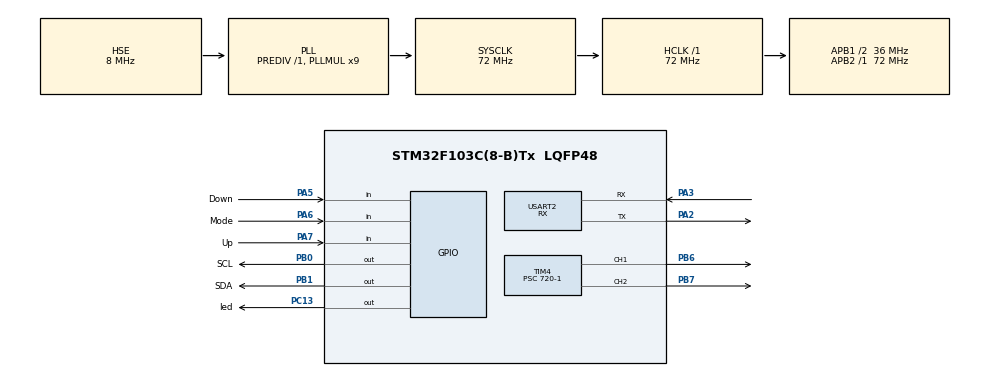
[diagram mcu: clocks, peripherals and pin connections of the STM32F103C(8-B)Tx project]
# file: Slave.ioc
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Mcu.Family=STM32F1
Mcu.Name=STM32F103C(8-B)Tx
Mcu.Package=LQFP48
NVIC.PriorityGroup=NVIC_PRIORITYGROUP_4
NVIC.TIM3_IRQn=true\:8\:0\:true\:false\:true\:true\:true\:true
NVIC.USART2_IRQn=true\:0\:0\:false\:false\:true\:true\:true\:true
PA13.Mode=Serial_Wire
PA13.Signal=SYS_JTMS-SWDIO
PA14.Mode=Serial_Wire
PA14.Signal=SYS_JTCK-SWCLK
PA2.Mode=Asynchronous
PA2.Signal=USART2_TX
PA3.Mode=Asynchronous
PA3.Signal=USART2_RX
PA5.GPIO_Label=Down
PA5.GPIO_PuPd=GPIO_PULLUP
PA5.Signal=GPIO_Input
PA6.GPIO_Label=Mode
PA6.GPIO_PuPd=GPIO_PULLUP
PA6.Signal=GPIO_Input
PA7.GPIO_Label=Up
PA7.GPIO_PuPd=GPIO_PULLUP
PA7.Signal=GPIO_Input
PB0.GPIO_Label=SCL
PB0.GPIO_Speed=GPIO_SPEED_FREQ_HIGH
PB0.Signal=GPIO_Output
PB1.GPIO_Label=SDA
PB1.GPIO_Speed=GPIO_SPEED_FREQ_HIGH
PB1.Signal=GPIO_Output
PB6.Signal=S_TIM4_CH1
PB7.Signal=S_TIM4_CH2
PC13-TAMPER-RTC.GPIO_Label=led
PC13-TAMPER-RTC.GPIO_ModeDefaultOutputPP=GPIO_MODE_OUTPUT_PP
PC13-TAMPER-RTC.Signal=GPIO_Output
PD0-OSC_IN.Mode=HSE-External-Oscillator
PD0-OSC_IN.Signal=RCC_OSC_IN
PD1-OSC_OUT.Mode=HSE-External-Oscillator
PD1-OSC_OUT.Signal=RCC_OSC_OUT
ProjectManager.HeapSize=0x200
ProjectManager.StackSize=0x400
ProjectManager.TargetToolchain=MDK-ARM V5.32
RCC.AHBFreq_Value=72000000
RCC.APB1CLKDivider=RCC_HCLK_DIV2
RCC.APB1Freq_Value=36000000
RCC.APB1TimFreq_Value=72000000
RCC.APB2Freq_Value=72000000
RCC.APB2TimFreq_Value=72000000
RCC.HCLKFreq_Value=72000000
RCC.PLLMUL=RCC_PLL_MUL9
RCC.PLLSourceVirtual=RCC_PLLSOURCE_HSE
RCC.SYSCLKFreq_VALUE=72000000
RCC.SYSCLKSource=RCC_SYSCLKSOURCE_PLLCLK
RCC.USBFreq_Value=72000000
SH.S_TIM4_CH1.0=TIM4_CH1,PWM Generation1 CH1
SH.S_TIM4_CH2.0=TIM4_CH2,PWM Generation2 CH2
TIM3.Period=2000-1
TIM3.Prescaler=720-1
TIM4.Channel-PWM\ Generation1\ CH1=TIM_CHANNEL_1
TIM4.Channel-PWM\ Generation2\ CH2=TIM_CHANNEL_2
TIM4.OCFastMode_PWM-PWM\ Generation1\ CH1=TIM_OCFAST_ENABLE
TIM4.OCFastMode_PWM-PWM\ Generation2\ CH2=TIM_OCFAST_ENABLE
TIM4.Period=2000-1
TIM4.Prescaler=720-1
USART2.Mode=MODE_RX
USART2.VirtualMode=VM_ASYNC
VP_TIM3_VS_ClockSourceINT.Mode=Internal
VP_TIM4_VS_ClockSourceINT.Mode=Internal
board=custom

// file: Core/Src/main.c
/* USER CODE BEGIN Header */
/**
  ******************************************************************************
  * @file           : main.c
  * @brief          : Main program body
  ******************************************************************************
  * @attention
  *
  * Copyright (c) 2024 STMicroelectronics.
  * All rights reserved.
  *
  * This software is licensed under terms that can be found in the LICENSE file
  * in the root directory of this software component.
  * If no LICENSE file comes with this software, it is provided AS-IS.
  *
  ******************************************************************************
  */
/* USER CODE END Header */
#include "main.h"
#include "tim.h"
#include "usart.h"
#include "gpio.h"

/* USER CODE BEGIN Includes */
#include "OLED.h"
#include <math.h>
#include "key.h"
/* USER CODE END Includes */

/* USER CODE BEGIN PTD */
//extern DMA_HandleTypeDef hdma_usart2_rx;
/* USER CODE END PTD */

/* USER CODE BEGIN PD */
#define DATA_SIZE 6  // 数据大小，不包括起始、结束标志和校验�?
#define PKT_SIZE (DATA_SIZE + 2 + 1) // 整个数据包大小，包括起始、结束标志和校验�?
/* USER CODE END PD */

/* USER CODE BEGIN PV */
uint8_t angle[2];
uint16_t duty[2];
uint8_t isBT = 0; //
uint8_t p=0;
uint8_t KeyCode=0;

uint8_t rxBuffer[PKT_SIZE];
uint8_t rxIndex = 0;
uint8_t state = 0; // 0: 寻找起始0xFF, 1: 接收数据, 2: 接收校验和和结束0xFF
/* USER CODE END PV */

void SystemClock_Config(void);
/* USER CODE BEGIN PFP */
void HAL_TIM_PeriodElapsedCallback(TIM_HandleTypeDef *htim)
{
  if (htim == &htim3)
  {
    KEY_Scan();
  }
}

// 计算校验和的函数
uint8_t CalculateChecksum(uint8_t *data, uint8_t len) {
    uint8_t checksum = 0;
    for (uint8_t i = 0; i < len+1; i++) {
        checksum += data[i];
    }
    return checksum;
}

void changeMark(){
		if(isBT==0){
		OLED_ShowString(48,0,"Key",OLED_8X16);
			if(p==0){OLED_ShowChar(0,16,'>',OLED_8X16);
				OLED_ClearArea(0,32,8,16);
			}else{
			OLED_ShowChar(0,32,'>',OLED_8X16);
				OLED_ClearArea(0,16,8,16);
			}
		}else{
			OLED_ShowString(48,0,"BT ",OLED_8X16);
			OLED_ClearArea(0,16,8,32);
		}
				OLED_UpdateArea(48,0,24,16);
		OLED_UpdateArea(0,16,8,32);
}

// 串口接收中断回调函数
void HAL_UART_RxCpltCallback(UART_HandleTypeDef *huart) {
    if (huart==&huart2) {
        switch (state) {
            case 0: // 寻找起始0xFF
                if (rxBuffer[rxIndex] == 0xFF) {
                    rxIndex++;
                    state = 1; // 进入接收数据状态
                }
                break;
            case 1: // 接收数据
                rxIndex++;
                if (rxIndex == DATA_SIZE + 1) { // 数据接收完毕
                    state = 2; // 准备接收校验和

                }
                break;
            case 2: // 接收校验和
                rxIndex++;
                if (rxIndex == DATA_SIZE + 2) {
                    // 校验和接收完毕，进入接收结束0xFE状态
                    state = 3;
                } else {
                    // 数据错位，重置状态机
                    state = 0;
                    rxIndex = 0;
                }
                break;
            case 3: // 接收结束0xFE
                if (rxBuffer[rxIndex] == 0xFE) {
                    // 检查校验和

                    if (rxBuffer[DATA_SIZE+1] == CalculateChecksum(rxBuffer, DATA_SIZE)) {
                        // 校验和正确，处理数据
											if(isBT==1){
                        angle[0]=rxBuffer[1];
		angle[1]=rxBuffer[2];
		duty[0]=(rxBuffer[3]<<8)|rxBuffer[4];
		duty[1]=(rxBuffer[5]<<8)|rxBuffer[6];
											}

                    }
                    // 重置状态机，准备接收下一包数据
                    state = 0;
                    rxIndex = 0;
                } else {
                    // 数据错位，重置状态机
                    state = 0;
                    rxIndex = 0;
                }
                break;
        }
        // 重新启动中断接收
        HAL_UART_Receive_IT(&huart2, &rxBuffer[rxIndex], 1);
    }
}

/* USER CODE END PFP */

int main(void)
{

  /* MCU Configuration--------------------------------------------------------*/

  /* Reset of all peripherals, Initializes the Flash interface and the Systick. */
  HAL_Init();

  /* Configure the system clock */
  SystemClock_Config();

  /* Initialize all configured peripherals */
  MX_GPIO_Init();
  MX_TIM4_Init();
  MX_TIM3_Init();
  MX_USART2_UART_Init();
  /* USER CODE BEGIN 2 */

	HAL_GPIO_WritePin(GPIOC,led_Pin,GPIO_PIN_RESET);
HAL_Delay(300);
HAL_GPIO_WritePin(GPIOC,led_Pin,GPIO_PIN_SET);
	HAL_Delay(500);
	HAL_GPIO_WritePin(GPIOC,led_Pin,GPIO_PIN_RESET);
HAL_Delay(300);
HAL_GPIO_WritePin(GPIOC,led_Pin,GPIO_PIN_SET);
	HAL_Delay(500);
	HAL_GPIO_WritePin(GPIOC,led_Pin,GPIO_PIN_RESET);
HAL_Delay(300);
HAL_GPIO_WritePin(GPIOC,led_Pin,GPIO_PIN_SET);

KEY_Init();
  HAL_TIM_Base_Start_IT(&htim3);
  HAL_TIM_PWM_Start(&htim4, TIM_CHANNEL_1);
  HAL_TIM_PWM_Start(&htim4, TIM_CHANNEL_2);

	OLED_Init();
	OLED_ShowString(0,0,"Mode: ",OLED_8X16);
			OLED_ShowString(8,16,"AngleXoY:",OLED_8X16);
		OLED_ShowString(8,32,"AngleZ:",OLED_8X16);
		OLED_Update();
		changeMark();
		angle[0]=0;
		angle[1]=0;//初始化为0°

	HAL_UART_Receive_IT(&huart2,&rxBuffer[rxIndex],1);

  /* USER CODE END 2 */

  /* Infinite loop */
  /* USER CODE BEGIN WHILE */
  while (1)
  {

		KeyCode = KEY_FIFO_Get();
		if (KeyCode != KEY_NONE)
		{
			switch (KeyCode)
			{
				case KEY_DOWN_K1:
				if(isBT==1){}
					else if(--angle[p]>180){angle[p]=0;}
					changeMark();
					break;
				case KEY_DOWN_K2:
					p=!p;
				changeMark();
					break;
				case KEY_2_LONG:
				if(isBT==1){isBT=0;}else{isBT=1;
					}
				changeMark();
					break;
				case KEY_DOWN_K3:
if(isBT==1){
}else if(++angle[p]>180){angle[p]=180;}
changeMark();
					break;
				default:
					break;
			}
		}

		if(isBT==0){duty[0]=(angle[0]/ 18.0 + 2.5)*20;
		duty[1]=(angle[1]/18.0+2.5)*20;}
		__HAL_TIM_SET_COMPARE(&htim4, TIM_CHANNEL_1, (uint32_t)duty[0]);
    __HAL_TIM_SET_COMPARE(&htim4, TIM_CHANNEL_2, (uint32_t)duty[1]);

				OLED_ShowNum(80,16,(uint32_t)angle[0],3,OLED_8X16);
		OLED_ShowNum(80,32,(uint32_t)angle[1],3,OLED_8X16);
		OLED_UpdateArea(80,16,24,32);

    /* USER CODE END WHILE */

  }
}

void SystemClock_Config(void)
{
  RCC_OscInitTypeDef RCC_OscInitStruct = {0};
  RCC_ClkInitTypeDef RCC_ClkInitStruct = {0};

  /** Initializes the RCC Oscillators according to the specified parameters
  * in the RCC_OscInitTypeDef structure.
  */
  RCC_OscInitStruct.OscillatorType = RCC_OSCILLATORTYPE_HSE;
  RCC_OscInitStruct.HSEState = RCC_HSE_ON;
  RCC_OscInitStruct.HSEPredivValue = RCC_HSE_PREDIV_DIV1;
  RCC_OscInitStruct.HSIState = RCC_HSI_ON;
  RCC_OscInitStruct.PLL.PLLState = RCC_PLL_ON;
  RCC_OscInitStruct.PLL.PLLSource = RCC_PLLSOURCE_HSE;
  RCC_OscInitStruct.PLL.PLLMUL = RCC_PLL_MUL9;
  if (HAL_RCC_OscConfig(&RCC_OscInitStruct) != HAL_OK)
  {
    Error_Handler();
  }

  /** Initializes the CPU, AHB and APB buses clocks
  */
  RCC_ClkInitStruct.ClockType = RCC_CLOCKTYPE_HCLK|RCC_CLOCKTYPE_SYSCLK
                              |RCC_CLOCKTYPE_PCLK1|RCC_CLOCKTYPE_PCLK2;
  RCC_ClkInitStruct.SYSCLKSource = RCC_SYSCLKSOURCE_PLLCLK;
  RCC_ClkInitStruct.AHBCLKDivider = RCC_SYSCLK_DIV1;
  RCC_ClkInitStruct.APB1CLKDivider = RCC_HCLK_DIV2;
  RCC_ClkInitStruct.APB2CLKDivider = RCC_HCLK_DIV1;

  if (HAL_RCC_ClockConfig(&RCC_ClkInitStruct, FLASH_LATENCY_2) != HAL_OK)
  {
    Error_Handler();
  }
}

void Error_Handler(void)
{
  __disable_irq();
  while (1)
  {
  }
}
